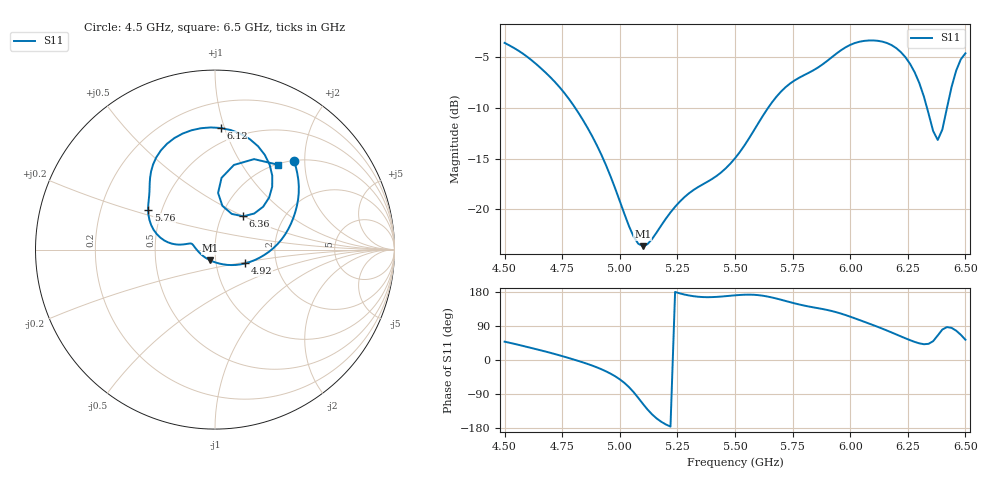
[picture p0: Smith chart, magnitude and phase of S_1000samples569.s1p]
! TOUCHSTONE file generated by CST MICROWAVE STUDIO
! Date and time: Fri Oct 28 15:28:40 2022
! Project name: L.cst
! Parameters = {Di=1.27; Epsilon_r=1.56; InnerDiameter=1.27; Length=2; Lf=10; Lg=60; OuterConductorThickness=0.2921; OuterDiameter=3.6; Wf=3; Wp=41.2; de=1.5; df=6.8; g=0.8; gx=1.67431; gy=1.44575; h=2.34; hf=1.524; px=12.5884; py=11.9341; w=9.7; wx=10.9141; wy=10.4884}
! Header version: 2018
! Port assignment regex: !\s*Touchstone port\s*([0-9]+)\s*=\s*(CST MWS port|CST DS port)\s*([0-9]+|Zmin|Zmax)\s*\(\"(.*)\"\)(\s*mode\s*([0-9]+))?.*
! Touchstone port assignment:
! Touchstone port 1 = CST MWS port 1 ("")
# GHz S DB R 50
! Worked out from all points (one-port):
!   101 points, 4.5 GHz to 6.5 GHz, reference 50 ohm
!   lowest |S11| = -23.7 dB at 5.1 GHz (marker M1), VSWR 1.14, Z = 46.9 - j5.58 ohm
!   |S11| at or under -10 dB: 4.806 GHz to 5.644 GHz (837.3 MHz wide, 16 % of centre); 6.333 GHz to 6.42 GHz (86.57 MHz wide, 1.36 % of centre)
!   S11 on the Smith chart (normalised r, x): 4.5 GHz: 1.00, +1.77; 4.92 GHz: 1.39, -0.22; 5.76 GHz: 0.42, +0.23; 6.12 GHz: 0.39, +0.97; 6.36 GHz: 1.26, +0.50; 6.5 GHz: 1.01, +1.46
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4.5  -3.57 48.3
4.62  -5.34 31.1
4.76  -8.54 8.5
4.92  -14.62 -24.4
5  -19.21 -51.0
5.06  -22.72 -84.9
5.1  -23.66 -115.5
5.26  -19.27 175.9
5.5  -14.98 170.7
5.62  -10.82 169.7
5.7  -8.38 159.0
5.76  -7.26 149.3
5.92  -5.00 129.3
6  -3.77 114.3
6.06  -3.38 101.1
6.12  -3.37 87.3
6.18  -3.80 72.6
6.22  -4.49 62.3
6.26  -5.66 52.3
6.3  -7.55 43.9
6.36  -12.28 49.7
6.38  -13.17 64.8
6.4  -12.14 80.4
6.42  -10.00 86.9
6.44  -7.93 84.8
6.46  -6.31 77.4
6.48  -5.21 66.6
6.5  -4.61 53.5
